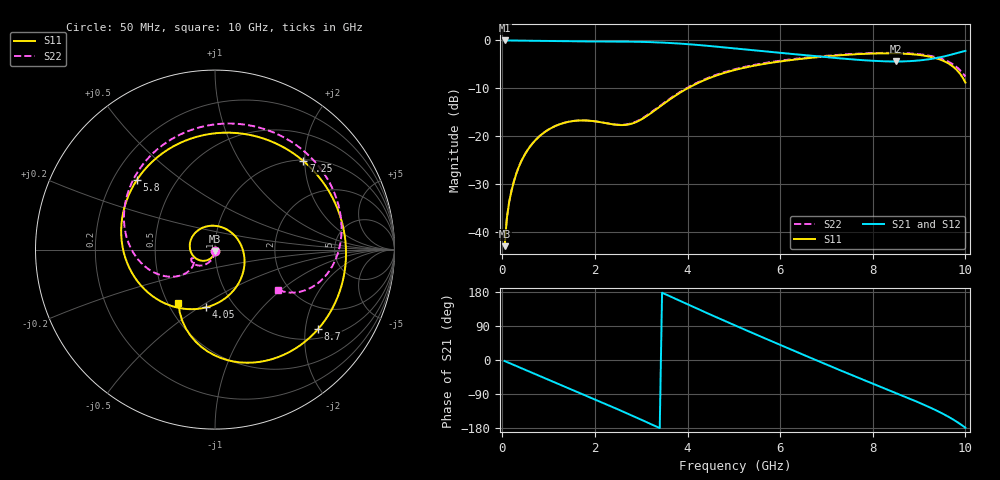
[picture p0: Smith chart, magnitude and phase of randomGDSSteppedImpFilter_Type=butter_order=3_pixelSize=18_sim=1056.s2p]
! freq	dB(S11)	phase(S11)	dB(S12)	phase(S12)
!  dB(S21)	phase(S21)	dB(S22)	phase(S22)
!S-par simulation data
#  GHz  S  DB  R 50
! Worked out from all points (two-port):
!   200 points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, 50 MHz to 10 GHz, reference 50 ohm
!   highest |S21| = 0.00 dB at 50 MHz (marker M1); lowest = -4.4 dB at 8.5 GHz (marker M2)
!   |S21| within 3 dB of the highest: start of sweep to 6.45 GHz; 9.68 GHz to end of sweep
!   lowest |S11| = -43.1 dB at 50 MHz (marker M3), VSWR 1.01, Z = 50 - j0.701 ohm
!   |S11| at or under -10 dB: start of sweep to 4.005 GHz
!   |S22| runs from -43.0 to -2.6 dB; largest |S21 - S12| = 0
!   S11 on the Smith chart (normalised r, x): 50 MHz: 1.00, -0.01; 4.05 GHz: 0.74, -0.54; 5.8 GHz: 0.30, +0.35; 7.25 GHz: 1.03, +1.97; 8.7 GHz: 1.26, -2.35; 10 GHz: 0.56, -0.39
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0.05  -43.07 -92.1  -0.00 -2.7  -0.00 -2.7  -43.04 -91.0
0.1  -37.10 -94.9  -0.01 -5.3  -0.01 -5.3  -37.08 -92.7
0.2  -31.46 -101.3  -0.03 -10.5  -0.03 -10.5  -31.35 -97.1
0.5  -23.66 -122.2  -0.06 -26.2  -0.06 -26.2  -23.64 -111.0
1.15  -17.89 -165.1  -0.14 -59.9  -0.14 -59.9  -17.88 -136.1
1.75  -16.75 150.5  -0.20 -90.9  -0.20 -90.9  -16.74 -153.9
2.5  -17.69 74.7  -0.23 -130.4  -0.23 -130.4  -17.65 -156.7
2.95  -16.82 14.3  -0.29 -154.8  -0.29 -154.8  -16.70 -145.1
3.4  -13.87 -39.6  -0.43 -179.7  -0.43 -179.7  -13.73 -141.0
4.05  -9.76 -98.4  -0.81 144.2  -0.81 144.2  -9.61 -154.3
4.55  -7.59 -136.2  -1.23 116.9  -1.23 116.9  -7.44 -171.2
5.05  -6.11 -171.2  -1.70 90.0  -1.70 90.0  -5.95 170.2
5.8  -4.69 138.4  -2.41 50.4  -2.41 50.4  -4.53 141.6
6.25  -4.09 108.7  -2.82 26.9  -2.82 26.9  -3.94 124.2
6.7  -3.60 79.5  -3.23 3.5  -3.23 3.5  -3.48 106.6
7.25  -3.13 45.0  -3.72 -24.7  -3.72 -24.7  -3.03 84.6
7.8  -2.81 12.3  -4.14 -52.4  -4.14 -52.4  -2.72 62.0
8.35  -2.70 -18.5  -4.39 -79.7  -4.39 -79.7  -2.60 38.9
8.5  -2.72 -26.6  -4.41 -87.1  -4.41 -87.1  -2.61 32.5
8.7  -2.79 -37.5  -4.37 -97.1  -4.37 -97.1  -2.67 23.8
9.45  -3.99 -80.7  -3.54 -137.8  -3.54 -137.8  -3.74 -10.1
10  -8.82 -124.2  -2.18 -178.8  -2.18 -178.8  -7.58 -32.4
